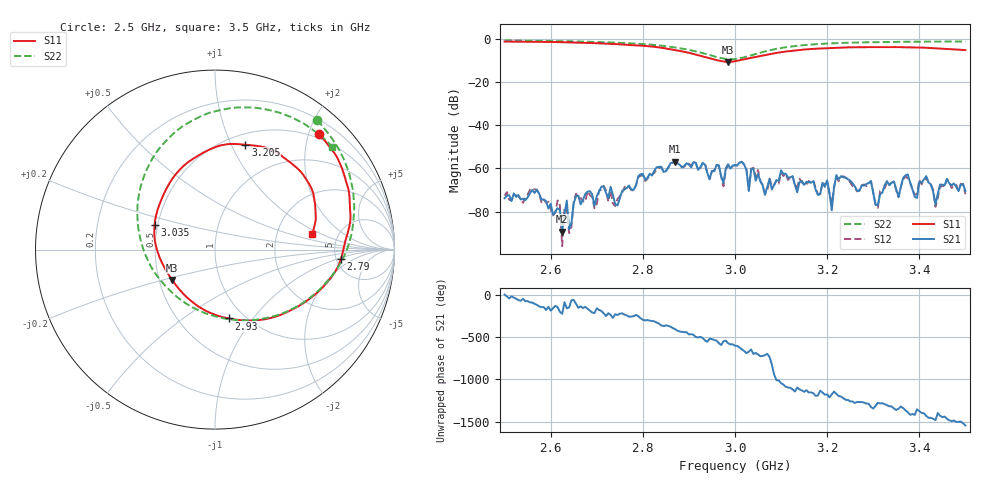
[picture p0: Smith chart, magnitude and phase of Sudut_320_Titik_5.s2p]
# Hz S RI R 50
! CMT, C1220, 16058040, 17.2.0/1
! Date: 15/08/2018 10:27:57
! Data: Format (Calibration Info)
! Freq  S11: Re/Im (F2)  S21: Re/Im (F2)  S12: Re/Im (F2)  S22: Re/Im (F2)
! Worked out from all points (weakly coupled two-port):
!   201 points, 2.5 GHz to 3.5 GHz, reference 50 ohm
!   highest |S21| = -56.80 dB at 2.87 GHz (marker M1); lowest = -89.2 dB at 2.625 GHz (marker M2)
!   lowest |S11| = -10.7 dB at 2.985 GHz (marker M3), VSWR 1.83, Z = 29.3 - j10.9 ohm
!   |S11| at or under -10 dB: 2.963 GHz to 3.008 GHz (44.53 MHz wide, 1.49 % of centre)
!   |S22| runs from -9.4 to -0.7 dB; largest |S21 - S12| = 0.00018
!   S11 on the Smith chart (normalised r, x): 2.5 GHz: 0.43, +2.18; 2.79 GHz: 5.53, -1.11; 2.93 GHz: 0.85, -0.77; 3.035 GHz: 0.48, +0.15; 3.205 GHz: 0.61, +1.13; 3.5 GHz: 3.23, +0.78
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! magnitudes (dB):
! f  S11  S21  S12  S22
! 2.5 GHz  -1.3  -73.8  -72.6  -0.7
! 2.625 GHz  -1.5  -89.2  -96.0  -1.1
! 2.67 GHz  -1.8  -74.6  -75.2  -1.3
! 2.745 GHz  -2.5  -77.1  -74.2  -1.8
! 2.79 GHz  -3.0  -63.6  -64.2  -2.3
! 2.835 GHz  -3.9  -59.3  -59.8  -3.0
! 2.87 GHz  -5.2  -56.8  -57.2  -4.0
! 2.93 GHz  -8.1  -57.5  -57.3  -6.6
! 2.975 GHz  -10.5  -66.7  -68.2  -9.1
! 2.985 GHz  -10.7  -58.0  -58.4  -9.4
! 3 GHz  -10.4  -58.4  -58.7  -9.4
! 3.03 GHz  -9.0  -70.4  -70.0  -7.9
! 3.035 GHz  -8.8  -60.5  -60.1  -7.6
! 3.065 GHz  -7.5  -72.3  -71.5  -5.8
! 3.1 GHz  -6.2  -60.8  -61.8  -4.2
! 3.17 GHz  -4.6  -66.0  -65.6  -2.5
! 3.205 GHz  -4.3  -71.4  -71.5  -2.1
! 3.21 GHz  -4.3  -79.4  -76.2  -2.1
! 3.295 GHz  -3.9  -65.9  -65.7  -1.6
! 3.31 GHz  -3.8  -76.9  -78.2  -1.5
! 3.335 GHz  -3.8  -67.8  -67.4  -1.4
! 3.5 GHz  -5.2  -70.5  -72.0  -1.2
